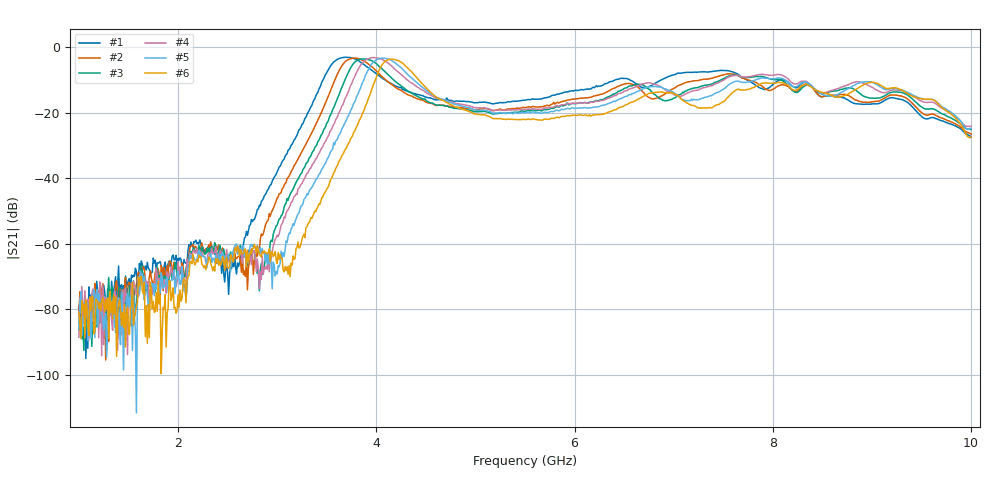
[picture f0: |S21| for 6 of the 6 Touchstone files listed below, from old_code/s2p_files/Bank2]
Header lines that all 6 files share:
!Agilent Technologies,N5227A,US51270477,A.10.00.00
!File generated by LCAF-GAM-UPV software
!josevmart@iteam.upv.es
!S2P File: Measurements: S11, S21, S12, S22:
# Hz S  dB  R 50
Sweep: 1 GHz to 10 GHz
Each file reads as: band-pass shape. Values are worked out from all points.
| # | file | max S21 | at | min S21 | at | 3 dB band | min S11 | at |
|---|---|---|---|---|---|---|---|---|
| 1 | Channel0.s2p | -3.09 dB | 3.7 GHz | -95.1 dB | 1.07 GHz | 3.54 GHz-3.91 GHz | -36.1 dB | 3.64 GHz |
| 2 | Channel1.s2p | -3.36 dB | 3.78 GHz | -95.5 dB | 1.27 GHz | 3.64 GHz-3.96 GHz | -26.5 dB | 3.74 GHz |
| 3 | Channel2.s2p | -3.60 dB | 3.87 GHz | -92.6 dB | 1.05 GHz | 3.74 GHz-4.05 GHz | -37.7 dB | 7.92 GHz |
| 4 | Channel3.s2p | -3.18 dB | 3.97 GHz | -94.2 dB | 1.23 GHz | 3.83 GHz-4.16 GHz | -41.8 dB | 8 GHz |
| 5 | Channel4.s2p | -3.34 dB | 4.08 GHz | -111.7 dB | 1.58 GHz | 3.94 GHz-4.25 GHz | -28.0 dB | 4.04 GHz |
| 6 | Channel5.s2p | -3.69 dB | 4.15 GHz | -99.7 dB | 1.83 GHz | 4.04 GHz-4.32 GHz | -24.5 dB | 4.14 GHz |
